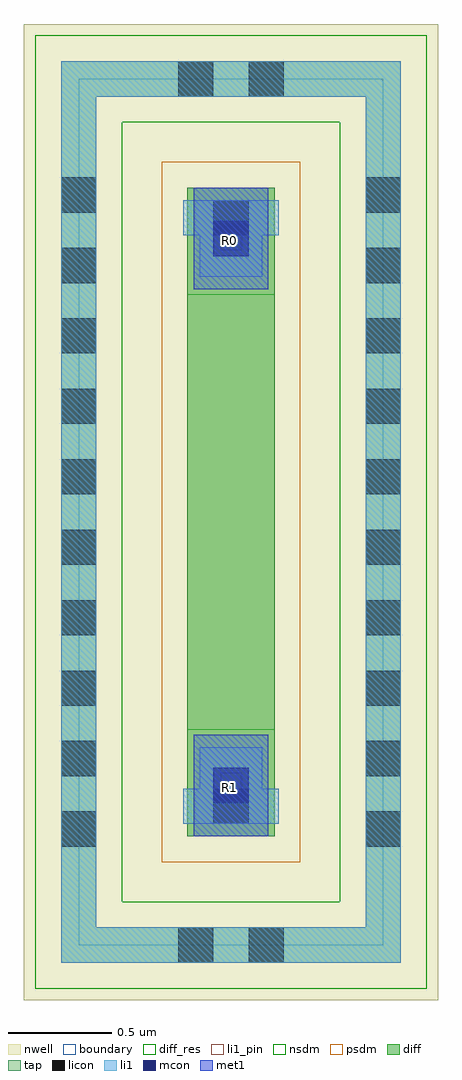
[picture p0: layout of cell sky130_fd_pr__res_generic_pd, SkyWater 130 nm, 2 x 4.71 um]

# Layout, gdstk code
import gdstk
lib = gdstk.Library(unit=1e-6, precision=1e-09)
def R(c, l, rs):  # rectangles x0, y0, x1, y1
    for r in rs: c.add(gdstk.rectangle(r[:2], r[2:], *l))
def A(c, l, x, y, w, h, nx, ny, dx, dy):  # array of equal rectangles
    R(c, l, [(x+i*dx, y+j*dy, x+i*dx+w, y+j*dy+h) for i in range(nx) for j in range(ny)])
nwell = (64, 20)
diff_res = (65, 13)
diff = (65, 20)
tap = (65, 44)
licon = (66, 44)
li1_pin = (67, 16)
li1 = (67, 20)
mcon = (67, 44)
met1 = (68, 20)
nsdm = (93, 44)
psdm = (94, 20)
boundary = (235, 4)

sky130_fd_pr__res_generi = lib.new_cell('sky130_fd_pr__res_generic_pd')
R(sky130_fd_pr__res_generi, nwell, [(-0.265,-0.265,1.735,4.445)])
R(sky130_fd_pr__res_generi, diff_res, [(0.525,1.04,0.945,3.14)])
R(sky130_fd_pr__res_generi, diff, [(0.525,0.525,0.945,3.655)])
R(sky130_fd_pr__res_generi, tap, [(-0.085,-0.085,1.555,0.085), (-0.085,0.085,0.085,4.095), (1.385,0.085,1.555,4.095), (-0.085,4.095,1.555,4.265)])
A(sky130_fd_pr__res_generi, licon, -0.085, 0.475, 0.17, 0.17, 1, 10, 0, 0.34)
A(sky130_fd_pr__res_generi, licon, 1.385, 0.475, 0.17, 0.17, 1, 10, 0, 0.34)
R(sky130_fd_pr__res_generi, licon, [(0.48,-0.085,0.65,0.085), (0.82,-0.085,0.99,0.085), (0.65,0.585,0.82,0.755), (0.65,3.425,0.82,3.595), (0.48,4.095,0.65,4.265), (0.82,4.095,0.99,4.265)])
R(sky130_fd_pr__res_generi, li1_pin, [(0.686,0.716,0.787,0.831), (0.685,3.353,0.786,3.468)])
R(sky130_fd_pr__res_generi, li1, [(-0.085,-0.085,1.555,0.085), (-0.085,0.085,0.085,4.095), (1.385,0.085,1.555,4.095), (0.505,0.585,0.965,0.755), (0.585,0.755,0.885,0.955), (0.585,3.225,0.885,3.425), (0.505,3.425,0.965,3.595), (-0.085,4.095,1.555,4.265)])
R(sky130_fd_pr__res_generi, mcon, [(0.65,0.685,0.82,0.855), (0.65,3.325,0.82,3.495)])
R(sky130_fd_pr__res_generi, met1, [(0.555,0.525,0.915,1.015), (0.555,3.165,0.915,3.655)])
R(sky130_fd_pr__res_generi, nsdm, [(-0.21,-0.21,1.68,0.21), (-0.21,0.21,0.21,3.97), (1.26,0.21,1.68,3.97), (-0.21,3.97,1.68,4.39)])
R(sky130_fd_pr__res_generi, psdm, [(0.4,0.4,1.07,3.78)])
R(sky130_fd_pr__res_generi, boundary, [(0,0,1.47,4.18)])
sky130_fd_pr__res_generi.add(gdstk.Label('R0', (0.726,3.399), layer=67, texttype=5))
sky130_fd_pr__res_generi.add(gdstk.Label('R1', (0.727,0.762), layer=67, texttype=5))

lib.write_gds('sky130_fd_pr__res_generic_pd.gds')
